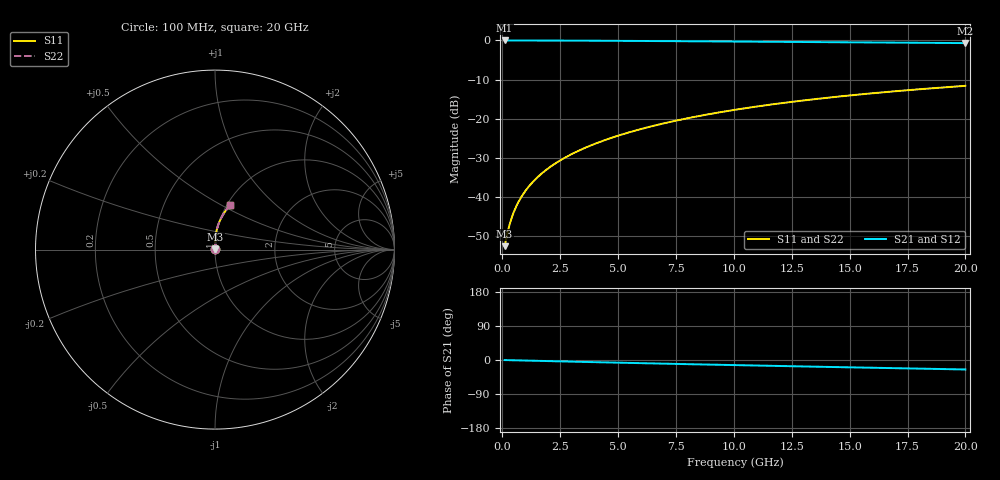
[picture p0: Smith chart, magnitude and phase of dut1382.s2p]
! Touchstone file exported from HFSS 2024.1.0
!  File:  C:/UserFiles/LocalFiles/RDL_TSV_Batchsim/temp_RDL_top_1382_1780367371.aedt
!  Generated:  10:31:55 AM Jun  2, 2026
!  Design:  RDL_top
!  Project:  temp_RDL_top_1382_1780367371
!  Setup:  Setup1
!  Solution:  Sweep
! Variables:
!  dtsv = 10.80580581um
!  hbump = 3um
!  htsv = 91.56um
!  ldown = 100um
!  lrdl = 308.74um
!  p = 40
!  p1 = 54.65um
!  rhole = 1um
!  t = 450um
!  tdown = 3.915915916um
!  trdl = 2.71um
!  wdown = 15.38538539um
!  wrdl = 23.88um
# GHz S MA R 50.000000
! Terminal data exported
! Port[1] = Box2_T1
! Port[2] = Box2_T2
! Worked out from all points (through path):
!   200 points, 100 MHz to 20 GHz, reference 50 ohm
!   highest |S21| = -0.02 dB at 100 MHz (marker M1); lowest = -0.7 dB at 20 GHz (marker M2)
!   group delay of S21, straight-line fit = 3.44 ps
!   lowest |S11| = -52.6 dB at 100 MHz (marker M3), VSWR 1.00, Z = 50.2 + j0.127 ohm
!   |S11| at or under -10 dB: start of sweep to end of sweep
!   |S22| runs from -52.6 to -11.6 dB; largest |S21 - S12| = 2e-15
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0.1  0.002358 32.6  0.998 -0.2  0.998 -0.2  0.002358 32.6
! Gamma 0 0 0 0
! Port Impedance 50 0 50 0
0.2  0.003242 50.8  0.9979 -0.3  0.9979 -0.3  0.003242 50.8
0.3  0.004286 60.3  0.9978 -0.5  0.9978 -0.5  0.004286 60.3
0.4  0.00537 65.8  0.9977 -0.6  0.9977 -0.6  0.00537 65.8
0.5  0.006464 69.5  0.9976 -0.7  0.9976 -0.7  0.006464 69.5
0.6  0.007561 72.2  0.9975 -0.9  0.9975 -0.9  0.007561 72.2
0.8  0.009766 75.9  0.9973 -1.2  0.9973 -1.2  0.009766 75.9
1.1  0.01311 79.4  0.9969 -1.6  0.9969 -1.6  0.01311 79.4
1.3  0.01537 81.0  0.9967 -1.9  0.9967 -1.9  0.01537 81.0
1.6  0.0188 82.7  0.9962 -2.3  0.9962 -2.3  0.0188 82.7
2.1  0.02461 84.6  0.9953 -3.1  0.9953 -3.1  0.02461 84.6
2.7  0.03175 85.9  0.994 -3.9  0.994 -3.9  0.03175 85.9
3.5  0.04153 86.9  0.9919 -5.0  0.9919 -5.0  0.04153 86.9
4.2  0.05034 87.3  0.9898 -6.0  0.9898 -6.0  0.05034 87.3
5  0.06068 87.4  0.9871 -7.1  0.9871 -7.1  0.06068 87.4
5.9  0.07261 87.1  0.9837 -8.3  0.9837 -8.3  0.07262 87.1
6.8  0.08481 86.6  0.9802 -9.5  0.9802 -9.5  0.08481 86.6
8.4  0.1069 85.2  0.9737 -11.5  0.9737 -11.5  0.1069 85.2
10.1  0.1307 83.3  0.9666 -13.6  0.9666 -13.6  0.1307 83.3
13.4  0.1765 79.2  0.9525 -17.5  0.9525 -17.5  0.1765 79.2
16.7  0.2207 75.0  0.9381 -21.3  0.9381 -21.3  0.2208 75.0
20  0.2628 70.9  0.9234 -25.0  0.9234 -25.0  0.2628 70.9
